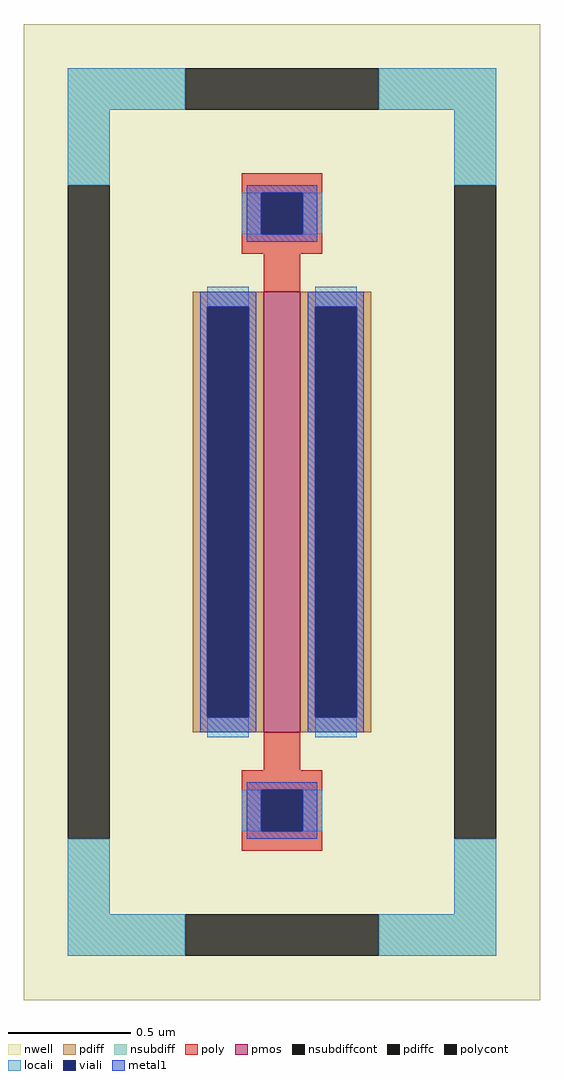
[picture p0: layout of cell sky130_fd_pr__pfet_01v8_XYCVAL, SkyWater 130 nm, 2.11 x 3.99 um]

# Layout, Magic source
magic
tech sky130A
magscale 1 2
<< nwell >>
rect -211 -399 211 399
<< pmos >>
rect -15 -180 15 180
<< pdiff >>
rect -73 168 -15 180
rect -73 -168 -61 168
rect -27 -168 -15 168
rect -73 -180 -15 -168
rect 15 168 73 180
rect 15 -168 27 168
rect 61 -168 73 168
rect 15 -180 73 -168
<< pdiffc >>
rect -61 -168 -27 168
rect 27 -168 61 168
<< nsubdiff >>
rect -175 329 -79 363
rect 79 329 175 363
rect -175 267 -141 329
rect 141 267 175 329
rect -175 -329 -141 -267
rect 141 -329 175 -267
rect -175 -363 -79 -329
rect 79 -363 175 -329
<< nsubdiffcont >>
rect -79 329 79 363
rect -175 -267 -141 267
rect 141 -267 175 267
rect -79 -363 79 -329
<< poly >>
rect -33 261 33 277
rect -33 227 -17 261
rect 17 227 33 261
rect -33 211 33 227
rect -15 180 15 211
rect -15 -211 15 -180
rect -33 -227 33 -211
rect -33 -261 -17 -227
rect 17 -261 33 -227
rect -33 -277 33 -261
<< polycont >>
rect -17 227 17 261
rect -17 -261 17 -227
<< locali >>
rect -175 329 -79 363
rect 79 329 175 363
rect -175 267 -141 329
rect 141 267 175 329
rect -33 227 -17 261
rect 17 227 33 261
rect -61 168 -27 184
rect -61 -184 -27 -168
rect 27 168 61 184
rect 27 -184 61 -168
rect -33 -261 -17 -227
rect 17 -261 33 -227
rect -175 -329 -141 -267
rect 141 -329 175 -267
rect -175 -363 -79 -329
rect 79 -363 175 -329
<< viali >>
rect -17 227 17 261
rect -61 -168 -27 168
rect 27 -168 61 168
rect -17 -261 17 -227
<< metal1 >>
rect -29 261 29 267
rect -29 227 -17 261
rect 17 227 29 261
rect -29 221 29 227
rect -67 168 -21 180
rect -67 -168 -61 168
rect -27 -168 -21 168
rect -67 -180 -21 -168
rect 21 168 67 180
rect 21 -168 27 168
rect 61 -168 67 168
rect 21 -180 67 -168
rect -29 -227 29 -221
rect -29 -261 -17 -227
rect 17 -261 29 -227
rect -29 -267 29 -261
<< properties >>
string gencell sky130_fd_pr__pfet_01v8
string FIXED_BBOX -158 -346 158 346
string parameters w 1.8 l 0.15 m 1 nf 1 diffcov 100 polycov 100 guard 1 glc 1 grc 1 gtc 1 gbc 1 tbcov 100 rlcov 100 topc 1 botc 1 poverlap 0 doverlap 1 lmin 0.15 wmin 0.42 compatible {sky130_fd_pr__pfet_01v8  sky130_fd_pr__pfet_01v8_lvt sky130_fd_pr__pfet_01v8_hvt  sky130_fd_pr__pfet_g5v0d10v5} full_metal 1 viasrc 100 viadrn 100 viagate 100 viagb 0 viagr 0 viagl 0 viagt 0
string library sky130
<< end >>
